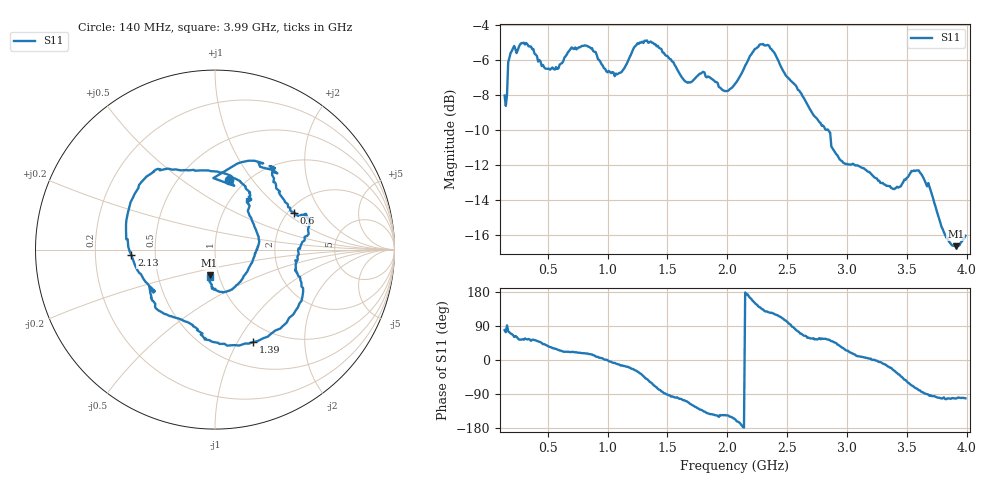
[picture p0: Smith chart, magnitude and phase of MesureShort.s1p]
# MHz S MA R 50.0
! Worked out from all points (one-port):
!   386 points, 140 MHz to 3.99 GHz, reference 50 ohm
!   lowest |S11| = -16.6 dB at 3.91 GHz (marker M1), VSWR 1.35, Z = 45.2 - j13.3 ohm
!   |S11| at or under -10 dB: 2.844 GHz to end of sweep
!   S11 on the Smith chart (normalised r, x): 140 MHz: 0.84, +0.78; 600 MHz: 2.15, +1.16; 1.39 GHz: 0.78, -1.16; 2.13 GHz: 0.36, -0.03; 3.99 GHz: 0.90, -0.29
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140  0.3972 78.8
150  0.371 73.2
160  0.3984 91.3
170  0.4946 75.5
260  0.5483 54.0
380  0.5396 53.7
600  0.4867 25.0
630  0.498 22.3
830  0.5508 17.3
1110  0.4619 -14.8
1250  0.5603 -30.7
1390  0.557 -67.6
1470  0.5262 -87.4
1590  0.4665 -100.3
1800  0.4644 -134.9
2070  0.4307 -157.7
2130  0.4665 -176.2
2200  0.5201 161.7
2310  0.5528 129.8
2420  0.5048 118.1
2550  0.4315 86.9
2670  0.3743 58.5
3030  0.2518 19.7
3320  0.2208 -12.0
3510  0.2321 -59.8
3690  0.2178 -94.6
3910  0.1473 -101.8
3990  0.1577 -101.0
